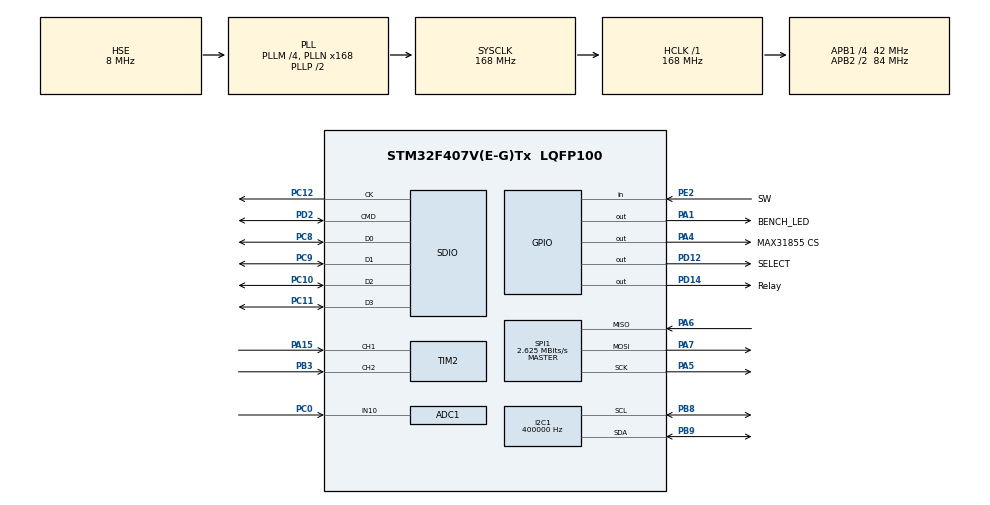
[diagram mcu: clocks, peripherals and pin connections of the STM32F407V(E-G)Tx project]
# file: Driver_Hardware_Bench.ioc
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ADC1.Channel-0\#ChannelRegularConversion=ADC_CHANNEL_10
ADC1.ClockPrescaler=ADC_CLOCK_SYNC_PCLK_DIV4
ADC1.NbrOfConversionFlag=1
ADC1.Rank-0\#ChannelRegularConversion=1
ADC1.SamplingTime-0\#ChannelRegularConversion=ADC_SAMPLETIME_15CYCLES
ADC1.master=1
FATFS._USE_STRFUNC=0
I2C1.ClockSpeed=400000
Mcu.Family=STM32F4
Mcu.Name=STM32F407V(E-G)Tx
Mcu.Package=LQFP100
NVIC.PriorityGroup=NVIC_PRIORITYGROUP_4
PA1.GPIO_Label=BENCH_LED
PA1.PinState=GPIO_PIN_SET
PA1.Signal=GPIO_Output
PA13.Mode=Serial_Wire
PA13.Signal=SYS_JTMS-SWDIO
PA14.Mode=Serial_Wire
PA14.Signal=SYS_JTCK-SWCLK
PA15.Signal=S_TIM2_CH1_ETR
PA4.GPIO_Label=MAX31855 CS
PA4.PinState=GPIO_PIN_SET
PA4.Signal=GPIO_Output
PA5.Mode=Full_Duplex_Master
PA5.Signal=SPI1_SCK
PA6.Mode=Full_Duplex_Master
PA6.Signal=SPI1_MISO
PA7.Mode=Full_Duplex_Master
PA7.Signal=SPI1_MOSI
PB3.Signal=S_TIM2_CH2
PB8.Mode=I2C
PB8.Signal=I2C1_SCL
PB9.Mode=I2C
PB9.Signal=I2C1_SDA
PC0.Signal=ADCx_IN10
PC10.Mode=SD_4_bits_Wide_bus
PC10.Signal=SDIO_D2
PC11.Mode=SD_4_bits_Wide_bus
PC11.Signal=SDIO_D3
PC12.Mode=SD_4_bits_Wide_bus
PC12.Signal=SDIO_CK
PC8.Mode=SD_4_bits_Wide_bus
PC8.Signal=SDIO_D0
PC9.Mode=SD_4_bits_Wide_bus
PC9.Signal=SDIO_D1
PD12.GPIO_PuPd=GPIO_PULLDOWN
PD12.GPIO_Label=SELECT
PD12.PinState=GPIO_PIN_SET
PD12.Signal=GPIO_Output
PD14.GPIO_Label=Relay
PD14.PinState=GPIO_PIN_RESET
PD14.Signal=GPIO_Output
PD2.Mode=SD_4_bits_Wide_bus
PD2.Signal=SDIO_CMD
PE2.GPIO_Label=SW
PE2.GPIO_PuPd=GPIO_PULLUP
PE2.Signal=GPIO_Input
PH0-OSC_IN.Mode=HSE-External-Oscillator
PH0-OSC_IN.Signal=RCC_OSC_IN
PH1-OSC_OUT.Mode=HSE-External-Oscillator
PH1-OSC_OUT.Signal=RCC_OSC_OUT
ProjectManager.HeapSize=0x200
ProjectManager.StackSize=0x2000
ProjectManager.TargetToolchain=STM32CubeIDE
RCC.48MHZClocksFreq_Value=48000000
RCC.AHBFreq_Value=168000000
RCC.APB1CLKDivider=RCC_HCLK_DIV4
RCC.APB1Freq_Value=42000000
RCC.APB1TimFreq_Value=84000000
RCC.APB2CLKDivider=RCC_HCLK_DIV2
RCC.APB2Freq_Value=84000000
RCC.APB2TimFreq_Value=168000000
RCC.CortexFreq_Value=168000000
RCC.HCLKFreq_Value=168000000
RCC.HSE_VALUE=8000000
RCC.HSI_VALUE=16000000
RCC.LSE_VALUE=32768
RCC.PLLM=4
RCC.PLLN=168
RCC.PLLQ=7
RCC.PLLSourceVirtual=RCC_PLLSOURCE_HSE
RCC.SYSCLKFreq_VALUE=168000000
RCC.SYSCLKSource=RCC_SYSCLKSOURCE_PLLCLK
RCC.VCOOutputFreq_Value=336000000
SH.ADCx_IN10.0=ADC1_IN10,IN10
SH.S_TIM2_CH1_ETR.0=TIM2_CH1,Encoder_Interface
SH.S_TIM2_CH2.0=TIM2_CH2,Encoder_Interface
SPI1.BaudRatePrescaler=SPI_BAUDRATEPRESCALER_32
SPI1.CalculateBaudRate=2.625 MBits/s
SPI1.Direction=SPI_DIRECTION_2LINES
SPI1.Mode=SPI_MODE_MASTER
SPI1.VirtualType=VM_MASTER
TIM2.EncoderMode=TIM_ENCODERMODE_TI12
VP_FATFS_VS_SDIO.Mode=SDIO
board=custom

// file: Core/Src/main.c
/* USER CODE BEGIN Header */
/**
  ******************************************************************************
  * @file           : main.c
  * @brief          : Main program body
  ******************************************************************************
  * @attention
  *
  * Copyright (c) 2026 STMicroelectronics.
  * All rights reserved.
  *
  * This software is licensed under terms that can be found in the LICENSE file
  * in the root directory of this software component.
  * If no LICENSE file comes with this software, it is provided AS-IS.
  *
  ******************************************************************************
  */
/* USER CODE END Header */
#include "main.h"
#include "fatfs.h"

/* USER CODE BEGIN Includes */
#include "app.h"
#include "board.h"
#include "pinout.h"
#include "sd_io.h"
#include "runtime_config.h"
#include "bench_config.h"
#include "bench_led.h"
/* USER CODE END Includes */

ADC_HandleTypeDef hadc1;

I2C_HandleTypeDef hi2c1;

SD_HandleTypeDef hsd;

SPI_HandleTypeDef hspi1;

TIM_HandleTypeDef htim2;

void SystemClock_Config(void);
static void MX_GPIO_Init(void);
static void MX_ADC1_Init(void);
static void MX_SDIO_SD_Init(void);
static void MX_SPI1_Init(void);
static void MX_TIM2_Init(void);
static void MX_I2C1_Init(void);

int main(void)
{

  /* USER CODE BEGIN 1 */
  board_init();
  app_init();
  for (;;) { app_run(); }
/* USER CODE END 1 */

  /* MCU Configuration--------------------------------------------------------*/

  /* Reset of all peripherals, Initializes the Flash interface and the Systick. */
  HAL_Init();

  /* Configure the system clock */
  SystemClock_Config();

  /* Initialize all configured peripherals */
  MX_GPIO_Init();
  MX_ADC1_Init();
  MX_SDIO_SD_Init();
  MX_SPI1_Init();
  MX_TIM2_Init();
  MX_FATFS_Init();
  MX_I2C1_Init();

  /* Infinite loop */
  while (1)
  {

  }
}

void SystemClock_Config(void)
{
  RCC_OscInitTypeDef RCC_OscInitStruct = {0};
  RCC_ClkInitTypeDef RCC_ClkInitStruct = {0};

  /** Configure the main internal regulator output voltage
  */
  __HAL_RCC_PWR_CLK_ENABLE();
  __HAL_PWR_VOLTAGESCALING_CONFIG(PWR_REGULATOR_VOLTAGE_SCALE1);

  /** Initializes the RCC Oscillators according to the specified parameters
  * in the RCC_OscInitTypeDef structure.
  */
  RCC_OscInitStruct.OscillatorType = RCC_OSCILLATORTYPE_HSE;
  RCC_OscInitStruct.HSEState = RCC_HSE_ON;
  RCC_OscInitStruct.PLL.PLLState = RCC_PLL_ON;
  RCC_OscInitStruct.PLL.PLLSource = RCC_PLLSOURCE_HSE;
  RCC_OscInitStruct.PLL.PLLM = 4;
  RCC_OscInitStruct.PLL.PLLN = 168;
  RCC_OscInitStruct.PLL.PLLP = RCC_PLLP_DIV2;
  RCC_OscInitStruct.PLL.PLLQ = 7;
  if (HAL_RCC_OscConfig(&RCC_OscInitStruct) != HAL_OK)
  {
    Error_Handler();
  }

  /** Initializes the CPU, AHB and APB buses clocks
  */
  RCC_ClkInitStruct.ClockType = RCC_CLOCKTYPE_HCLK|RCC_CLOCKTYPE_SYSCLK
                              |RCC_CLOCKTYPE_PCLK1|RCC_CLOCKTYPE_PCLK2;
  RCC_ClkInitStruct.SYSCLKSource = RCC_SYSCLKSOURCE_PLLCLK;
  RCC_ClkInitStruct.AHBCLKDivider = RCC_SYSCLK_DIV1;
  RCC_ClkInitStruct.APB1CLKDivider = RCC_HCLK_DIV4;
  RCC_ClkInitStruct.APB2CLKDivider = RCC_HCLK_DIV2;

  if (HAL_RCC_ClockConfig(&RCC_ClkInitStruct, FLASH_LATENCY_5) != HAL_OK)
  {
    Error_Handler();
  }
}

static void MX_ADC1_Init(void)
{

  ADC_ChannelConfTypeDef sConfig = {0};

  /** Configure the global features of the ADC (Clock, Resolution, Data Alignment and number of conversion)
  */
  hadc1.Instance = ADC1;
  hadc1.Init.ClockPrescaler = ADC_CLOCK_SYNC_PCLK_DIV4;
  hadc1.Init.Resolution = ADC_RESOLUTION_12B;
  hadc1.Init.ScanConvMode = DISABLE;
  hadc1.Init.ContinuousConvMode = DISABLE;
  hadc1.Init.DiscontinuousConvMode = DISABLE;
  hadc1.Init.ExternalTrigConvEdge = ADC_EXTERNALTRIGCONVEDGE_NONE;
  hadc1.Init.ExternalTrigConv = ADC_SOFTWARE_START;
  hadc1.Init.DataAlign = ADC_DATAALIGN_RIGHT;
  hadc1.Init.NbrOfConversion = 1;
  hadc1.Init.DMAContinuousRequests = DISABLE;
  hadc1.Init.EOCSelection = ADC_EOC_SINGLE_CONV;
  if (HAL_ADC_Init(&hadc1) != HAL_OK)
  {
    Error_Handler();
  }

  /** Configure for the selected ADC regular channel its corresponding rank in the sequencer and its sample time.
  */
  sConfig.Channel = ADC_CHANNEL_10;
  sConfig.Rank = 1;
  sConfig.SamplingTime = ADC_SAMPLETIME_15CYCLES;
  if (HAL_ADC_ConfigChannel(&hadc1, &sConfig) != HAL_OK)
  {
    Error_Handler();
  }

}

static void MX_I2C1_Init(void)
{

  hi2c1.Instance = I2C1;
  hi2c1.Init.ClockSpeed = 400000;
  hi2c1.Init.DutyCycle = I2C_DUTYCYCLE_2;
  hi2c1.Init.OwnAddress1 = 0;
  hi2c1.Init.AddressingMode = I2C_ADDRESSINGMODE_7BIT;
  hi2c1.Init.DualAddressMode = I2C_DUALADDRESS_DISABLE;
  hi2c1.Init.OwnAddress2 = 0;
  hi2c1.Init.GeneralCallMode = I2C_GENERALCALL_DISABLE;
  hi2c1.Init.NoStretchMode = I2C_NOSTRETCH_DISABLE;
  if (HAL_I2C_Init(&hi2c1) != HAL_OK)
  {
    Error_Handler();
  }

}

static void MX_SDIO_SD_Init(void)
{

  hsd.Instance = SDIO;
  hsd.Init.ClockEdge = SDIO_CLOCK_EDGE_RISING;
  hsd.Init.ClockBypass = SDIO_CLOCK_BYPASS_DISABLE;
  hsd.Init.ClockPowerSave = SDIO_CLOCK_POWER_SAVE_DISABLE;
  hsd.Init.BusWide = SDIO_BUS_WIDE_1B;
  hsd.Init.HardwareFlowControl = SDIO_HARDWARE_FLOW_CONTROL_DISABLE;
  hsd.Init.ClockDiv = 0;

}

static void MX_SPI1_Init(void)
{

  /* SPI1 parameter configuration*/
  hspi1.Instance = SPI1;
  hspi1.Init.Mode = SPI_MODE_MASTER;
  hspi1.Init.Direction = SPI_DIRECTION_2LINES;
  hspi1.Init.DataSize = SPI_DATASIZE_8BIT;
  hspi1.Init.CLKPolarity = SPI_POLARITY_LOW;
  hspi1.Init.CLKPhase = SPI_PHASE_1EDGE;
  hspi1.Init.NSS = SPI_NSS_SOFT;
  hspi1.Init.BaudRatePrescaler = SPI_BAUDRATEPRESCALER_32;
  hspi1.Init.FirstBit = SPI_FIRSTBIT_MSB;
  hspi1.Init.TIMode = SPI_TIMODE_DISABLE;
  hspi1.Init.CRCCalculation = SPI_CRCCALCULATION_DISABLE;
  hspi1.Init.CRCPolynomial = 10;
  if (HAL_SPI_Init(&hspi1) != HAL_OK)
  {
    Error_Handler();
  }

}

static void MX_TIM2_Init(void)
{

  TIM_Encoder_InitTypeDef sConfig = {0};
  TIM_MasterConfigTypeDef sMasterConfig = {0};

  htim2.Instance = TIM2;
  htim2.Init.Prescaler = 0;
  htim2.Init.CounterMode = TIM_COUNTERMODE_UP;
  htim2.Init.Period = 4294967295;
  htim2.Init.ClockDivision = TIM_CLOCKDIVISION_DIV1;
  htim2.Init.AutoReloadPreload = TIM_AUTORELOAD_PRELOAD_DISABLE;
  sConfig.EncoderMode = TIM_ENCODERMODE_TI12;
  sConfig.IC1Polarity = TIM_ICPOLARITY_RISING;
  sConfig.IC1Selection = TIM_ICSELECTION_DIRECTTI;
  sConfig.IC1Prescaler = TIM_ICPSC_DIV1;
  sConfig.IC1Filter = 0;
  sConfig.IC2Polarity = TIM_ICPOLARITY_RISING;
  sConfig.IC2Selection = TIM_ICSELECTION_DIRECTTI;
  sConfig.IC2Prescaler = TIM_ICPSC_DIV1;
  sConfig.IC2Filter = 0;
  if (HAL_TIM_Encoder_Init(&htim2, &sConfig) != HAL_OK)
  {
    Error_Handler();
  }
  sMasterConfig.MasterOutputTrigger = TIM_TRGO_RESET;
  sMasterConfig.MasterSlaveMode = TIM_MASTERSLAVEMODE_DISABLE;
  if (HAL_TIMEx_MasterConfigSynchronization(&htim2, &sMasterConfig) != HAL_OK)
  {
    Error_Handler();
  }

}

static void MX_GPIO_Init(void)
{
  GPIO_InitTypeDef GPIO_InitStruct = {0};
  /* USER CODE BEGIN MX_GPIO_Init_1 */
  /* Preload safe levels before CubeMX configures output direction. */
  PIN_SELECT_CLOCK_ENABLE();
  PIN_RELAY_CLOCK_ENABLE();
  __HAL_RCC_GPIOA_CLK_ENABLE();
  board_force_safe();
  (void)board_bench_led_init(); /* PA1 off before other peripherals. */
/* USER CODE END MX_GPIO_Init_1 */

  /* GPIO Ports Clock Enable */
  __HAL_RCC_GPIOE_CLK_ENABLE();
  __HAL_RCC_GPIOH_CLK_ENABLE();
  __HAL_RCC_GPIOC_CLK_ENABLE();
  __HAL_RCC_GPIOA_CLK_ENABLE();
  __HAL_RCC_GPIOD_CLK_ENABLE();
  __HAL_RCC_GPIOB_CLK_ENABLE();

  /*Configure GPIO pin Output Level */
  HAL_GPIO_WritePin(MAX31855_CS_GPIO_Port, MAX31855_CS_Pin, GPIO_PIN_SET);

  /*Configure GPIO pin Output Level */
  HAL_GPIO_WritePin(Relay_GPIO_Port, Relay_Pin, GPIO_PIN_RESET);

  /*Configure GPIO pin Output Level */
  HAL_GPIO_WritePin(SELECT_GPIO_Port, SELECT_Pin, GPIO_PIN_SET);

  /*Configure GPIO pin : SW_Pin */
  GPIO_InitStruct.Pin = SW_Pin;
  GPIO_InitStruct.Mode = GPIO_MODE_INPUT;
  GPIO_InitStruct.Pull = GPIO_PULLUP;
  HAL_GPIO_Init(SW_GPIO_Port, &GPIO_InitStruct);

  /*Configure GPIO pin : MAX31855_CS_Pin */
  GPIO_InitStruct.Pin = MAX31855_CS_Pin;
  GPIO_InitStruct.Mode = GPIO_MODE_OUTPUT_PP;
  GPIO_InitStruct.Pull = GPIO_NOPULL;
  GPIO_InitStruct.Speed = GPIO_SPEED_FREQ_LOW;
  HAL_GPIO_Init(MAX31855_CS_GPIO_Port, &GPIO_InitStruct);

  /*Configure relay separately: SELECT has its own internal pull-down. */
  GPIO_InitStruct.Pin = Relay_Pin;
  GPIO_InitStruct.Mode = GPIO_MODE_OUTPUT_PP;
  GPIO_InitStruct.Pull = GPIO_NOPULL;
  GPIO_InitStruct.Speed = GPIO_SPEED_FREQ_LOW;
  HAL_GPIO_Init(Relay_GPIO_Port, &GPIO_InitStruct);
  GPIO_InitStruct.Pin = SELECT_Pin;
  GPIO_InitStruct.Pull = PIN_SELECT_PULL;
  HAL_GPIO_Init(SELECT_GPIO_Port, &GPIO_InitStruct);

}

/* USER CODE BEGIN 4 */
void board_cube_clock_init(void) { SystemClock_Config(); }
void board_cube_gpio_init(void) { MX_GPIO_Init(); }
void board_cube_peripherals_init(void)
{
#if BENCH_TEST_MAX31855
    MX_SPI1_Init();
#endif
#if BENCH_TEST_ADC
    MX_ADC1_Init();
#endif
#if BENCH_TEST_OLED
    MX_I2C1_Init();
#endif
#if BENCH_TEST_ENCODER
    MX_TIM2_Init();
#endif
#if BENCH_TEST_SD
    MX_FATFS_Init(); /* Register driver only; card init is a manual action. */
#endif
}
/* USER CODE END 4 */

void Error_Handler(void)
{
  /* USER CODE BEGIN Error_Handler_Debug */
  board_force_safe();
  __disable_irq();
  for (;;) { }
/* USER CODE END Error_Handler_Debug */
}
